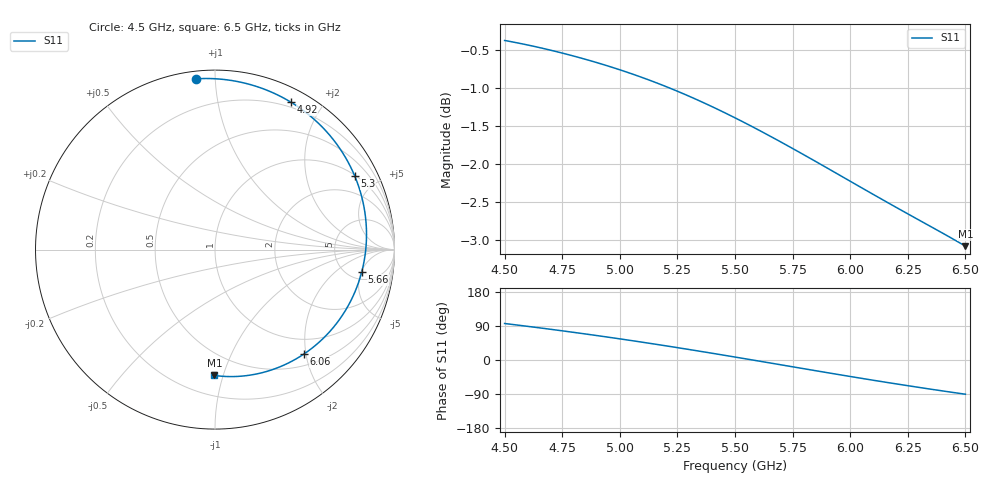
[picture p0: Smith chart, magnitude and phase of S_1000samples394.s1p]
! TOUCHSTONE file generated by CST MICROWAVE STUDIO
! Date and time: Fri Oct 28 00:37:51 2022
! Project name: L.cst
! Parameters = {Di=1.27; Epsilon_r=1.56; InnerDiameter=1.27; Length=2; Lf=10; Lg=60; OuterConductorThickness=0.2921; OuterDiameter=3.6; Wf=3; Wp=41.2; de=1.5; df=6.8; g=0.8; gx=3.50643; gy=4.98364; h=2.34; hf=1.524; px=12.3727; py=8.28679; w=9.7; wx=8.86632; wy=3.30315}
! Header version: 2018
! Port assignment regex: !\s*Touchstone port\s*([0-9]+)\s*=\s*(CST MWS port|CST DS port)\s*([0-9]+|Zmin|Zmax)\s*\(\"(.*)\"\)(\s*mode\s*([0-9]+))?.*
! Touchstone port assignment:
! Touchstone port 1 = CST MWS port 1 ("")
# GHz S DB R 50
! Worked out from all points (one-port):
!   101 points, 4.5 GHz to 6.5 GHz, reference 50 ohm
!   lowest |S11| = -3.1 dB at 6.5 GHz (marker M1), VSWR 5.69, Z = 17 - j46.8 ohm
!   |S11| at or under -10 dB: nowhere
!   S11 on the Smith chart (normalised r, x): 4.5 GHz: 0.04, +0.89; 4.92 GHz: 0.15, +1.63; 5.3 GHz: 1.04, +3.78; 5.66 GHz: 6.50, -5.10; 6.06 GHz: 0.70, -1.97; 6.5 GHz: 0.34, -0.94
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4.5  -0.38 96.3
4.58  -0.43 90.3
4.64  -0.46 85.7
4.7  -0.51 81.0
4.76  -0.55 76.2
4.84  -0.62 69.6
4.92  -0.69 62.8
5  -0.76 55.8
5.06  -0.83 50.4
5.12  -0.89 44.9
5.2  -0.98 37.4
5.26  -1.06 31.6
5.3  -1.11 27.8
5.4  -1.25 17.9
5.5  -1.40 7.8
5.58  -1.52 -0.4
5.66  -1.65 -8.6
5.76  -1.82 -19.0
5.82  -1.92 -25.1
5.88  -2.02 -31.3
5.94  -2.13 -37.4
6  -2.23 -43.5
6.06  -2.33 -49.5
6.16  -2.51 -59.2
6.26  -2.68 -68.7
6.32  -2.78 -74.3
6.38  -2.88 -79.7
6.5  -3.09 -90.3
